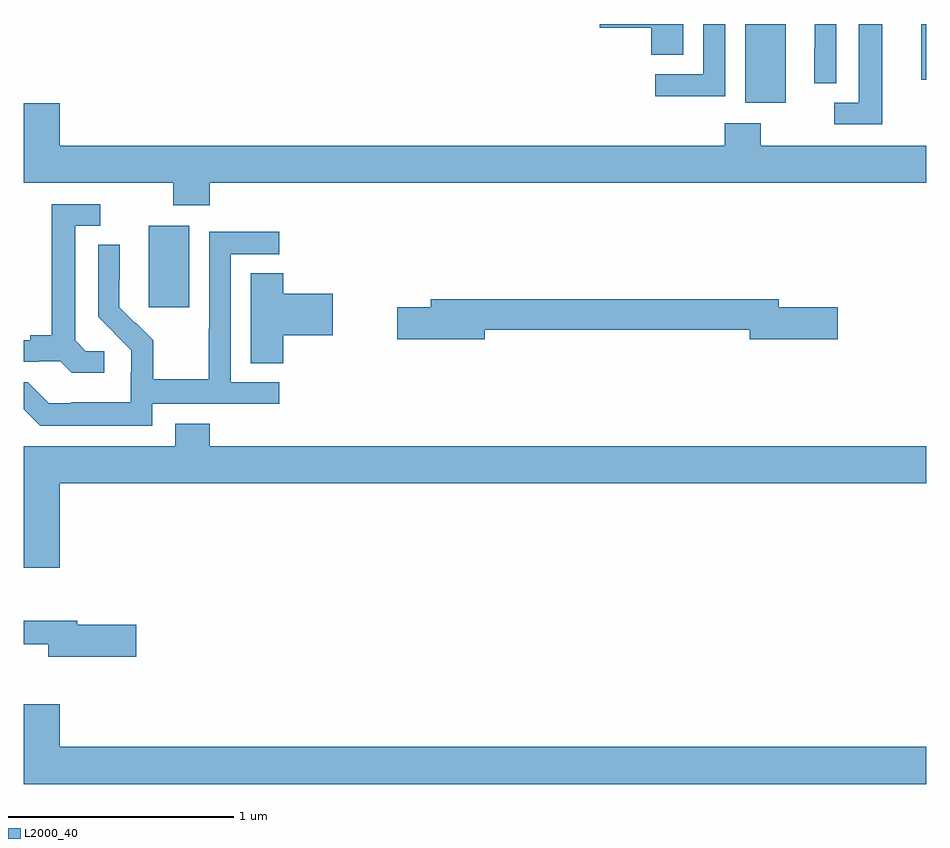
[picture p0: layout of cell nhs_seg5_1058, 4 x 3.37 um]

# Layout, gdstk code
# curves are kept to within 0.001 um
import gdstk
lib = gdstk.Library(unit=1e-6, precision=1e-09)
def R(c, l, rs):  # rectangles x0, y0, x1, y1
    for r in rs: c.add(gdstk.rectangle(r[:2], r[2:], *l))
def P(c, l, *ps):  # polygons
    for p in ps: c.add(gdstk.Polygon(p, *l))
L2000_40 = (2000, 40)

nhs_seg5_1058 = lib.new_cell('nhs_seg5_1058')
R(nhs_seg5_1058, L2000_40, [(177.554,853.545,177.733,853.906), (180.197,854.45,180.376,854.799), (180.977,854.553,181,854.799)])
P(nhs_seg5_1058, L2000_40, [(179.923,854.799),(179.552,854.799),(179.552,854.783),(179.78,854.783),(179.78,854.662),(179.923,854.662)],
  [(180.6,854.799),(180.506,854.799),(180.506,854.69),(180.504,854.69),(180.504,854.536),(180.6,854.536)],
  [(180.108,854.799),(180.012,854.799),(180.012,854.577),(179.799,854.577),(179.799,854.479),(180.108,854.479)],
  [(180.805,854.799),(180.701,854.799),(180.701,854.451),(180.591,854.451),(180.591,854.355),(180.805,854.355)],
  [(177.824,854.096),(181,854.096),(181,854.26),(180.267,854.26),(180.267,854.359),(180.107,854.359),(180.107,854.26),(177.16,854.26),(177.16,854.449),(177,854.449),(177,854.096),(177.664,854.096),(177.664,853.997),(177.824,853.997)],
  [(177.358,853.35),(177.276,853.35),(177.229,853.397),(177.229,853.905),(177.34,853.905),(177.34,854.001),(177.125,854.001),(177.125,853.421),(177.029,853.421),(177.029,853.398),(177,853.398),(177,853.302),(177.068,853.302),(177.068,853.305),(177.162,853.305),(177.214,853.253),(177.358,853.253)],
  [(177.57,853.116),(178.132,853.116),(178.132,853.212),(177.918,853.212),(177.918,853.779),(178.132,853.779),(178.132,853.878),(177.822,853.878),(177.822,853.448),(177.82,853.448),(177.82,853.225),(177.575,853.225),(177.575,853.399),(177.498,853.476),(177.495,853.473),(177.425,853.544),(177.426,853.82),(177.33,853.82),(177.33,853.502),(177.476,853.354),(177.476,853.257),(177.474,853.257),(177.474,853.123),(177.211,853.123),(177.211,853.119),(177.111,853.119),(177.018,853.212),(177,853.212),(177,853.092),(177.073,853.019),(177.57,853.019)],
  [(178.151,853.421),(178.369,853.421),(178.369,853.604),(178.151,853.604),(178.151,853.694),(178.007,853.694),(178.007,853.297),(178.151,853.297)],
  [(179.044,853.444),(180.218,853.444),(180.218,853.402),(180.607,853.402),(180.607,853.544),(180.346,853.544),(180.346,853.58),(178.805,853.58),(178.805,853.544),(178.656,853.544),(178.656,853.402),(179.044,853.402)],
  [(177.16,852.764),(181,852.764),(181,852.928),(177.824,852.928),(177.824,853.027),(177.671,853.027),(177.671,852.928),(177,852.928),(177,852.39),(177.16,852.39)],
  [(177.499,852.137),(177.238,852.137),(177.238,852.156),(177,852.156),(177,852.052),(177.11,852.052),(177.11,851.995),(177.499,851.995)],
  [(181,851.596),(177.16,851.596),(177.16,851.785),(177,851.785),(177,851.432),(181,851.432)])

lib.write_gds('nhs_seg5_1058.gds')
